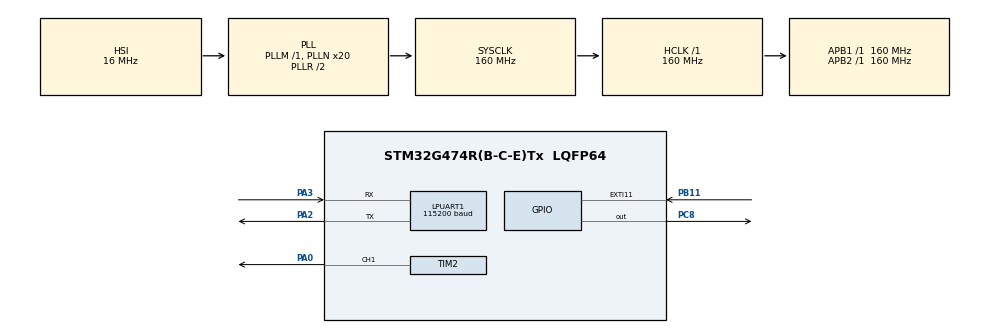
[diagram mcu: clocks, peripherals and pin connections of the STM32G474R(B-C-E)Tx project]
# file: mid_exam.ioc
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LPUART1.BaudRate=115200
Mcu.Family=STM32G4
Mcu.Name=STM32G474R(B-C-E)Tx
Mcu.Package=LQFP64
NVIC.EXTI15_10_IRQn=true\:1\:0\:true\:false\:true\:true\:true\:true
NVIC.LPUART1_IRQn=true\:3\:0\:true\:false\:true\:true\:true\:true
NVIC.PriorityGroup=NVIC_PRIORITYGROUP_4
NVIC.TIM3_IRQn=true\:2\:0\:true\:false\:true\:true\:true\:true
PA0.Signal=S_TIM2_CH1
PA13.GPIO_Label=T_SWDIO
PA13.Mode=Serial_Wire
PA13.Signal=SYS_JTMS-SWDIO
PA14.GPIO_Label=T_SWCLK
PA14.Mode=Serial_Wire
PA14.Signal=SYS_JTCK-SWCLK
PA2.Mode=Asynchronous
PA2.Signal=LPUART1_TX
PA3.Mode=Asynchronous
PA3.Signal=LPUART1_RX
PB11.GPIO_ModeDefaultEXTI=GPIO_MODE_IT_FALLING
PB11.GPIO_PuPd=GPIO_PULLUP
PB11.Signal=GPXTI11
PB3.GPIO_Label=T_SWO
PB3.Signal=SYS_JTDO-SWO
PC14-OSC32_IN.GPIO_Label=RCC_OSC32_IN
PC14-OSC32_IN.Signal=RCC_OSC32_IN
PC15-OSC32_OUT.GPIO_Label=RCC_OSC32_OUT
PC15-OSC32_OUT.Signal=RCC_OSC32_OUT
PC8.Signal=GPIO_Output
PF0-OSC_IN.GPIO_Label=RCC_OSC_IN
PF0-OSC_IN.Mode=HSE-External-Oscillator
PF0-OSC_IN.Signal=RCC_OSC_IN
PF1-OSC_OUT.GPIO_Label=RCC_OSC_OUT
PF1-OSC_OUT.Mode=HSE-External-Oscillator
PF1-OSC_OUT.Signal=RCC_OSC_OUT
ProjectManager.HeapSize=0x200
ProjectManager.StackSize=0x400
ProjectManager.TargetToolchain=STM32CubeIDE
RCC.ADC12Freq_Value=160000000
RCC.ADC345Freq_Value=160000000
RCC.AHBFreq_Value=160000000
RCC.APB1Freq_Value=160000000
RCC.APB1TimFreq_Value=160000000
RCC.APB2Freq_Value=160000000
RCC.APB2TimFreq_Value=160000000
RCC.CortexFreq_Value=160000000
RCC.EXTERNAL_CLOCK_VALUE=12288000
RCC.HCLKFreq_Value=160000000
RCC.HSE_VALUE=24000000
RCC.HSI48_VALUE=48000000
RCC.HSI_VALUE=16000000
RCC.LSE_VALUE=32768
RCC.PLLN=20
RCC.RTCClockSelection=RCC_RTCCLKSOURCE_LSE
RCC.SYSCLKFreq_VALUE=160000000
RCC.SYSCLKSource=RCC_SYSCLKSOURCE_PLLCLK
RCC.USBFreq_Value=160000000
RCC.VCOOutputFreq_Value=320000000
SH.S_TIM2_CH1.0=TIM2_CH1,PWM Generation1 CH1
TIM2.Channel-Output\ Compare2\ No\ Output=TIM_CHANNEL_2
TIM2.Channel-PWM\ Generation1\ CH1=TIM_CHANNEL_1
TIM2.PeriodNoDither=999
TIM2.Prescaler=159
TIM2.PulseNoDither_1=50
TIM3.PeriodNoDither=1000-1
TIM3.Prescaler=16000-1
VP_SYS_VS_DBSignals.Mode=DisableDeadBatterySignals
VP_TIM2_VS_ClockSourceINT.Mode=Internal
VP_TIM2_VS_no_output2.Mode=Output Compare2 No Output
VP_TIM3_VS_ClockSourceINT.Mode=Internal
board=NUCLEO-G474RE

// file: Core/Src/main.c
/* USER CODE BEGIN Header */
/**
  ******************************************************************************
  * @file           : main.c
  * @brief          : Main program body
  ******************************************************************************
  * @attention
  *
  * Copyright (c) 2026 STMicroelectronics.
  * All rights reserved.
  *
  * This software is licensed under terms that can be found in the LICENSE file
  * in the root directory of this software component.
  * If no LICENSE file comes with this software, it is provided AS-IS.
  *
  ******************************************************************************
  */
/* USER CODE END Header */
#include "main.h"

/* USER CODE BEGIN Includes */
#include <stdio.h>    /* snprintf：格式化時間字串與統計報表 */
#include <string.h>   /* strlen / strcmp / strncmp：字串長度與指令比對 */
#include <stdint.h>   /* uint8_t / uint32_t 等固定寬度整數型別 */
/* USER CODE END Includes */

/* USER CODE BEGIN PTD */

/**
  * 單筆警報歷史紀錄。
  * 兩個欄位都以「秒」為單位，顯示時再用 format_time() 轉成 00h 00m 00s。
  */
typedef struct
{
  uint32_t start_sec;     /* 觸發時的系統運行秒數（從自我檢測完成後開始累計） */
  uint32_t duration_sec;  /* 這次警報持續的秒數（從觸發到 2FA 解除） */
} AlarmRecord_t;
/* USER CODE END PTD */

/* USER CODE BEGIN PD */

/*
 * ============================================================================
 *  程式架構與硬體時基總覽
 * ============================================================================
 *
 *  【系統時脈】
 *    HSI 16 MHz → PLLM /1 → PLLN x20 = 320 MHz → PLLR /2 = 160 MHz (SYSCLK)
 *    AHB、APB1、APB2 的分頻都是 /1，所以 TIM2、TIM3 的輸入時脈都是 160 MHz。
 *
 *  【TIM2：LED 的 PWM】（輸出腳依 CubeMX 分配，Nucleo 上通常是 PA5 / LD2）
 *    預除頻 159 → 160 MHz / 160 = 1 MHz
 *    週期 (ARR) 999 → 1000 個計數 → PWM 頻率 1 kHz
 *    佔空比 = CCR / 1000
 *      CCR = 100  → 10%（待機低亮度）
 *      CCR = 1000 → 100%（CCR 大於 ARR 時輸出恆為高電位，即全亮）
 *      CCR = 0    → 0%（熄滅）
 *
 *  【TIM3：100 ms 系統節拍】
 *    預除頻 15999 → 160 MHz / 16000 = 10 kHz
 *    週期 (ARR) 999 → 1000 個計數 → 10 Hz，即每 100 ms 溢位一次
 *    本程式不開 TIM3 中斷，而是在主迴圈輪詢「更新旗標」(UIF) 來取得節拍，
 *    這樣就不必修改 stm32g4xx_it.c。
 *
 *  【運行架構：主迴圈 + 輪詢 + 一個中斷】
 *    - 按鈕 (PB11)：EXTI 下緣中斷，ISR 只設旗標 button_event。
 *    - 100 ms 節拍：輪詢 TIM3 更新旗標，呼叫 on_tick()。
 *    - 串口接收：輪詢 LPUART1 的 RXNE 旗標，逐字元組成一行指令。
 *    - 以上三者都集中在 service()，所有等待迴圈 (wait_ms) 都會持續呼叫它，
 *      所以等待期間按鈕、串口與節拍都不會漏掉。
 *
 *  【資料流程】
 *    按鈕 ISR → button_event → service() → trigger_alarm()
 *    串口字元 → rx_buf → process_line() → handle_alarm_line()/handle_normal_line()
 *    TIM3 節拍 → on_tick() → 更新運行時間、SOS 節奏、5 秒驗證倒數
 * ============================================================================
 */

/* ---- LED 亮度（TIM2 通道 1 的 CCR 值，ARR = 999） ---- */
#define LED_DIM            100U    /* 10%：待機低亮度 */
#define LED_FULL           1000U   /* 100%：CCR > ARR，輸出恆為高電位 */

/* ---- 蜂鳴器（主動式，高電位響、低電位靜音，只做開關） ---- */
#define BUZZER_PORT        GPIOC
#define BUZZER_PIN         GPIO_PIN_8

/* ---- 時間與驗證參數 ---- */
#define SOS_CYCLE_UNITS    35U     /* 一個 SOS 循環 = 35 個 100 ms 單位 = 3.5 秒 */
#define AUTH_WINDOW_TICKS  50U     /* 第二步的 5 秒視窗 = 50 個 100 ms 單位 */
#define AUTH_CODE_STR      "1234"  /* 寫死的授權碼 */

/* ---- 串口與歷史紀錄 ---- */
#define RX_BUF_SIZE        32U     /* 接收緩衝區大小；含結尾 '\0'，所以最多存 31 個字元 */
#define HISTORY_MAX        3U      /* 只保留最近 3 次警報紀錄 */

/* ---- 按鈕 ---- */
#define DEBOUNCE_MS        50U     /* 防彈跳時間：50 ms 內的重複下緣一律忽略 */

/* ---- 串口訊息字串（逐字照規格，勿任意修改） ----
 *  \r\n 為回車加換行；結尾帶 _FMT 的字串含 %s，要搭配 snprintf 使用。
 */
#define MSG_POST_START   "\r\n[POST] Starting Hardware Self-Test...\r\n"
#define MSG_POST_PASS    "[POST] Hardware Self-Test PASSED: LED: OK | Buzzer: OK | EXTI: OK\r\n"
#define MSG_WELCOME      "\r\n[SYSTEM] Secure Remote Monitoring Initialized.\r\nCommands: 'stats', 'cmd test', or alarm prompt for 2FA unlock.\r\n"
#define MSG_STATUS_FMT   "\n[STATUS] System: NORMAL | Uptime: %s | Status: SECURE\r\n"
#define MSG_ALARM_TRIG   "\r\n[ALARM] SOS Triggered! SECURE AUTH REQUIRED.\r\n-> Type: clear <auth_code>\r\n"
#define MSG_ALARM_ACTIVE "\n\n[ALARM] System: SOS ACTIVE! | Waiting for 2FA clearance...\r\n"
#define MSG_STEP1_OK     "\r\n[SECURITY] Step 1 Passed! Enter 'r' or 'R' within 5 seconds to clear SOS...\r\n"
#define MSG_BAD_CODE     "\r\n[ERROR] Invalid Auth Code! Access Denied.\r\n"
#define MSG_NEED_CODE    "\r\n[WARNING] Alarm Active. Please enter internal auth code first.\r\n"
#define MSG_BAD_STEP2    "\r\n[ERROR] Incorrect input! Expected 'r' or 'R'.\r\n"
#define MSG_WIN_EXPIRED  "\r\n[WARNING] 5-Second Window Expired! Please re-enter internal auth code.\r\n"
#define MSG_CLEARED_FMT  "\r\n[INFO] 2FA Verified Successfully! SOS Cleared. (Duration: %s)\r\n"
#define MSG_TEST_START   "\r\n[CMD] Executing remote test: LED blink x2 & Buzzer beep...\r\n"
#define MSG_TEST_DONE    "[CMD] Test sequence completed successfully.\r\n"
#define MSG_UNKNOWN      "\r\n[INFO] Normal state. Available commands: stats, cmd test\r\n"
/* USER CODE END PD */

UART_HandleTypeDef hlpuart1;

TIM_HandleTypeDef htim2;
TIM_HandleTypeDef htim3;

/* USER CODE BEGIN PV */

/* ---- 系統時基 ----
 * 每個 100 ms 節拍加 1。運行秒數 = uptime_ticks / 10。
 * 只有自我檢測完成、TIM3 啟動後才會開始累計。
 */
static uint32_t uptime_ticks = 0;

/* ---- 警報狀態 ---- */
/* 是否處於警報中。會被主迴圈與按鈕 ISR 同時讀取，所以宣告為 volatile。 */
static volatile uint8_t  alarm_active = 0;
static uint32_t alarm_ticks = 0;          /* 本次警報累計的 100 ms 單位數（除以 10 即持續秒數） */
static uint32_t alarm_phase = 0;          /* 目前在 SOS 循環中的位置 (0 ~ 34) */
static uint32_t alarm_start_sec = 0;      /* 本次警報觸發時的系統運行秒數 */
static uint32_t total_triggers = 0;       /* 開機以來的總觸發次數 */

/* ---- 兩步驟驗證 ---- */
static uint8_t  auth_step = 0;            /* 0 = 等授權碼 (clear 1234)；1 = 等確認字元 (r/R) */
static uint32_t auth_window_ticks = 0;    /* 第二步剩餘的 100 ms 單位數，倒數到 0 即逾時 */

/* ---- 歷史紀錄 ----
 * history[0] 永遠是最新一筆，數字越大越舊。
 * history_count 為目前有效筆數 (0 ~ HISTORY_MAX)。
 */
static AlarmRecord_t history[HISTORY_MAX];
static uint8_t history_count = 0;

/* ---- 按鈕事件 ----
 * button_event 由 EXTI 中斷設為 1，主迴圈 service() 取走後清 0，
 * 兩邊都會存取，所以用 volatile。
 * button_last_ms 記錄上次有效按下的 HAL_GetTick() 時間，用於防彈跳。
 */
static volatile uint8_t  button_event = 0;
static volatile uint32_t button_last_ms = 0;

/* ---- 串口接收緩衝 ---- */
static char    rx_buf[RX_BUF_SIZE];   /* 逐字元累積目前這一行 */
static uint8_t rx_len = 0;            /* 緩衝區目前已存的字元數 */
static uint8_t rx_overflow = 0;       /* 1 = 本行已超長，持續丟棄直到收到換行 */
/* USER CODE END PV */

void SystemClock_Config(void);
static void MX_GPIO_Init(void);
static void MX_LPUART1_UART_Init(void);
static void MX_TIM2_Init(void);
static void MX_TIM3_Init(void);
/* USER CODE BEGIN PFP */
static void uart_print(const char *s);
static void format_time(char *buf, size_t n, uint32_t secs);
static void led_set(uint32_t duty);
static void buzzer_set(uint8_t on);
static uint8_t sos_is_on(uint32_t unit);
static void on_tick(void);
static void tick_poll(void);
static void delay_ticking(uint32_t ms);
static void trigger_alarm(void);
static void clear_alarm(void);
static void handle_alarm_line(const char *line);
static void handle_normal_line(const char *line);
static void process_line(const char *line);
static void uart_poll_rx(void);
static void service(void);
static uint8_t wait_ms(uint32_t ms);
static void print_stats(void);
static void run_remote_test(void);
static void button_isr(uint16_t pin);
/* USER CODE END PFP */

/* USER CODE BEGIN 0 */

/* ==========================================================================
 *  基本輸出工具
 * ========================================================================== */

/**
  * @brief  從串口送出一個以 '\0' 結尾的字串（阻塞式）。
  * @param  s: 要送出的字串
  * @note   逾時設 200 ms。以 115200 bps 送約 100 個字元只需約 9 ms，
  *         遠小於逾時，實務上不會被截斷。
  */
static void uart_print(const char *s)
{
  HAL_UART_Transmit(&hlpuart1, (uint8_t *)s, (uint16_t)strlen(s), 200);
}

/**
  * @brief  把秒數格式化成固定格式「兩位數時、分、秒」，例如 00h 05m 12s。
  * @param  buf:  輸出緩衝區
  * @param  n:    緩衝區大小
  * @param  secs: 總秒數
  * @note   %lu 搭配 unsigned long 轉型，避免 32 位元平台上的格式不一致警告。
  *         小時超過 99 時會自然變成三位數，不會被截斷。
  */
static void format_time(char *buf, size_t n, uint32_t secs)
{
  snprintf(buf, n, "%02luh %02lum %02lus",
           (unsigned long)(secs / 3600U),          /* 時 */
           (unsigned long)((secs % 3600U) / 60U),  /* 分 */
           (unsigned long)(secs % 60U));           /* 秒 */
}

/**
  * @brief  設定 LED 亮度（直接寫入 TIM2 通道 1 的比較值）。
  * @param  duty: 0 = 熄滅、LED_DIM = 10%、LED_FULL = 全亮
  */
static void led_set(uint32_t duty)
{
  __HAL_TIM_SET_COMPARE(&htim2, TIM_CHANNEL_1, duty);
}

/**
  * @brief  開關蜂鳴器。主動式蜂鳴器高電位響，所以 on=1 輸出高電位。
  */
static void buzzer_set(uint8_t on)
{
  HAL_GPIO_WritePin(BUZZER_PORT, BUZZER_PIN, on ? GPIO_PIN_SET : GPIO_PIN_RESET);
}

/* ==========================================================================
 *  SOS 摩斯密碼節奏
 * ========================================================================== */

/**
  * @brief  判斷 SOS 循環中的某個單位是否為「亮 / 響」的時段。
  * @param  u: 循環中的單位索引 (0 ~ 34)，每單位 100 ms
  * @retval 1 = LED 全亮且蜂鳴器響；0 = LED 熄滅且蜂鳴器靜音
  *
  * 一個循環 35 個單位 (3.5 秒)，各區間皆「含起點、不含終點」：
  *
  *   單位:  0 1 2 3 4 5 6 7 8 9 ...
  *   S 短:  ■ ■ _ ■ ■ _ ■ ■ _        [0,2) [3,5) [6,8)    各 0.2 秒
  *   O 長:  [9,12) [13,16) [17,20)                         各 0.3 秒
  *   S 短:  [21,23) [24,26) [27,29)                        各 0.2 秒
  *   其餘 (含 29 ~ 34 的最後 0.6 秒) 為休止。
  *
  * 每個「亮」之間留 1 個單位的靜音，用來分隔字母內的各個音。
  */
static uint8_t sos_is_on(uint32_t u)
{
  /* S：三短 */
  if (u < 2U)               return 1;
  if (u >= 3U  && u < 5U)   return 1;
  if (u >= 6U  && u < 8U)   return 1;
  /* O：三長 */
  if (u >= 9U  && u < 12U)  return 1;
  if (u >= 13U && u < 16U)  return 1;
  if (u >= 17U && u < 20U)  return 1;
  /* S：三短 */
  if (u >= 21U && u < 23U)  return 1;
  if (u >= 24U && u < 26U)  return 1;
  if (u >= 27U && u < 29U)  return 1;
  /* 其餘為休止 */
  return 0;
}

/* ==========================================================================
 *  100 ms 節拍處理
 * ========================================================================== */

/**
  * @brief  每 100 ms 執行一次的節拍處理，負責三件事：
  *         1. 累計系統運行時間
  *         2. 警報期間推進 SOS 節奏並驅動 LED／蜂鳴器
  *         3. 第二步驗證的 5 秒倒數
  */
static void on_tick(void)
{
  /* 1. 系統運行時間（不論是否在警報中都累計） */
  uptime_ticks++;

  if (alarm_active)
  {
    /* 警報持續時間：每個節拍加 1，解除時除以 10 換成秒 */
    alarm_ticks++;

    /* 2. 推進 SOS 循環位置，在 0 ~ 34 之間循環 */
    alarm_phase = (alarm_phase + 1U) % SOS_CYCLE_UNITS;
    if (sos_is_on(alarm_phase))
    {
      led_set(LED_FULL);   /* 亮的時段：LED 全亮 + 蜂鳴器響 */
      buzzer_set(1);
    }
    else
    {
      led_set(0);          /* 休止時段：LED 熄滅 + 蜂鳴器靜音 */
      buzzer_set(0);
    }

    /* 3. 第二步的 5 秒倒數（只在 auth_step == 1 時進行） */
    if (auth_step == 1U)
    {
      if (auth_window_ticks > 0U)
      {
        auth_window_ticks--;
      }
      if (auth_window_ticks == 0U)
      {
        /* 時間到：退回第一步，使用者需重新輸入授權碼 */
        auth_step = 0U;
        uart_print(MSG_WIN_EXPIRED);
      }
    }
  }
}

/**
  * @brief  輪詢 TIM3 的更新旗標 (UIF) 來取得 100 ms 節拍。
  * @note   TIM3 每 100 ms 溢位一次並設起 UIF；這裡發現旗標就清除並呼叫 on_tick()。
  *         旗標只有 1 位元，若主程式被阻塞超過 100 ms 沒來檢查，
  *         多個節拍會合併成一個。本程式的阻塞操作（串口輸出）都在
  *         十幾毫秒內，所以不會發生。
  */
static void tick_poll(void)
{
  if (__HAL_TIM_GET_FLAG(&htim3, TIM_FLAG_UPDATE))
  {
    __HAL_TIM_CLEAR_FLAG(&htim3, TIM_FLAG_UPDATE);
    on_tick();
  }
}

/**
  * @brief  阻塞延遲 ms 毫秒，期間仍持續累計節拍。
  * @note   用於 cmd test：延遲期間不能讓運行時間停止累計，
  *         所以不能直接用 HAL_Delay()。此函式不處理按鈕與串口。
  */
static void delay_ticking(uint32_t ms)
{
  uint32_t t0 = HAL_GetTick();
  while ((HAL_GetTick() - t0) < ms)   /* 減法寫法可正確處理計數溢位 */
  {
    tick_poll();
  }
}

/* ==========================================================================
 *  警報觸發與解除
 * ========================================================================== */

/**
  * @brief  進入 SOS 警報狀態（只會在一般狀態下被呼叫）。
  * @note   依規格做這幾件事：總次數加 1、記下起始時間、重設持續時間計數、
  *         把驗證流程重設回第一步、輸出警報訊息。
  */
static void trigger_alarm(void)
{
  total_triggers++;                        /* 總觸發次數加 1 */
  alarm_start_sec = uptime_ticks / 10U;    /* 記下此刻的系統運行秒數 */
  alarm_ticks = 0;                         /* 重新開始計算持續時間 */
  auth_step = 0;                           /* 驗證回到第一步 */
  auth_window_ticks = 0;

  /* 把循環位置設為最後一格 (34)。下一個節拍 (最多 100 ms 後) 會翻到第 0 格，
   * 這樣第一個單位從節拍邊界開始，每個單位都剛好 100 ms。 */
  alarm_phase = SOS_CYCLE_UNITS - 1U;

  led_set(0);        /* 先熄滅，等第一個節拍再依 SOS 節奏驅動 */
  buzzer_set(0);
  alarm_active = 1;  /* 最後才設旗標，確保上面的初始化已完成 */
  uart_print(MSG_ALARM_TRIG);
}

/**
  * @brief  2FA 驗證成功後解除警報，並把本次紀錄存入歷史。
  */
static void clear_alarm(void)
{
  char tbuf[24];                           /* 暫存時間字串 */
  char out[96];                            /* 暫存完整輸出訊息 */
  uint32_t duration = alarm_ticks / 10U;   /* 100 ms 單位數 ÷ 10，取整數秒 */
  uint8_t i;

  /* 先回到一般狀態：警報結束、驗證歸零、LED 回待機亮度、蜂鳴器關閉 */
  alarm_active = 0;
  auth_step = 0;
  auth_window_ticks = 0;
  led_set(LED_DIM);
  buzzer_set(0);

  /* 存入歷史紀錄：新的放在最前面，舊的依序往後移，最舊的被擠掉。
   * 從尾端往前搬，避免覆蓋尚未搬動的資料。 */
  for (i = HISTORY_MAX - 1U; i > 0U; i--)
  {
    history[i] = history[i - 1U];
  }
  history[0].start_sec = alarm_start_sec;
  history[0].duration_sec = duration;
  if (history_count < HISTORY_MAX)   /* 有效筆數最多 3 */
  {
    history_count++;
  }

  /* 輸出解除成功訊息與持續時間 */
  format_time(tbuf, sizeof(tbuf), duration);
  snprintf(out, sizeof(out), MSG_CLEARED_FMT, tbuf);
  uart_print(out);
}

/* ==========================================================================
 *  指令處理
 * ========================================================================== */

/**
  * @brief  警報期間的輸入處理（兩步驟驗證狀態機）。
  * @param  line: 一行已去除換行的指令字串
  *
  *  第一步 (auth_step == 0)：
  *    - "clear 1234"        → 進入第二步，啟動 5 秒視窗
  *    - "clear " + 其他內容 → 授權碼錯誤，仍留在第一步
  *    - 其他任何內容        → 提醒先輸入授權碼，仍留在第一步
  *  第二步 (auth_step == 1)：
  *    - "r" 或 "R"          → 解除警報
  *    - 其他任何內容        → 提示輸入錯誤，仍留在第二步，倒數繼續
  */
static void handle_alarm_line(const char *line)
{
  if (auth_step == 0U)
  {
    /* 以 "clear " 開頭（含一個空格）才視為在輸入授權碼 */
    if (strncmp(line, "clear ", 6) == 0)
    {
      /* line + 6 跳過 "clear "，剩下的部分必須完全等於授權碼 */
      if (strcmp(line + 6, AUTH_CODE_STR) == 0)
      {
        auth_step = 1U;                       /* 進入第二步 */
        auth_window_ticks = AUTH_WINDOW_TICKS;/* 開始 5 秒倒數 */
        uart_print(MSG_STEP1_OK);
      }
      else
      {
        uart_print(MSG_BAD_CODE);             /* 數字錯誤或非數字 */
      }
    }
    else
    {
      uart_print(MSG_NEED_CODE);              /* 沒有以 clear 開頭 */
    }
  }
  else
  {
    /* 第二步：必須剛好是單一字元 r 或 R（line[1] 必須是結尾 '\0'） */
    if ((line[0] == 'r' || line[0] == 'R') && line[1] == '\0')
    {
      clear_alarm();
    }
    else
    {
      uart_print(MSG_BAD_STEP2);              /* 留在第二步，倒數繼續 */
    }
  }
}

/**
  * @brief  輸出統計報表：總觸發次數、目前運行時間、最近 3 次警報紀錄。
  * @note   報表分多次送出而不是一次組成大字串，可以省 RAM，
  *         每行也只需要一個 128 位元組的暫存區。
  */
static void print_stats(void)
{
  char tbuf[24];    /* 時間字串暫存 1 */
  char tbuf2[24];   /* 時間字串暫存 2（歷史紀錄一行要同時顯示兩個時間） */
  char line[128];   /* 單行輸出暫存 */
  uint8_t i;

  /* 報表前面有一個空行 */
  uart_print("\r\n");
  uart_print("========================================\r\n");
  uart_print("       SYSTEM TELEMETRY & STATS         \r\n");
  uart_print("========================================\r\n");

  /* 總觸發次數 */
  snprintf(line, sizeof(line), "- Total SOS Triggers    : %lu\r\n", (unsigned long)total_triggers);
  uart_print(line);

  /* 目前系統運行時間 */
  format_time(tbuf, sizeof(tbuf), uptime_ticks / 10U);
  snprintf(line, sizeof(line), "- System Uptime         : %s\r\n", tbuf);
  uart_print(line);

  uart_print("----------------------------------------\r\n");
  uart_print(" Recent SOS History (Max 3):\r\n");

  if (history_count == 0U)
  {
    /* 還沒有任何已解除的警報 */
    uart_print(" (No alarm history recorded yet)\r\n");
  }
  else
  {
    /* 編號 [1] 為最新，對應 history[0] */
    for (i = 0; i < history_count; i++)
    {
      format_time(tbuf, sizeof(tbuf), history[i].start_sec);
      format_time(tbuf2, sizeof(tbuf2), history[i].duration_sec);
      snprintf(line, sizeof(line), " [%u] Triggered @ %s | Duration: %s\r\n",
               (unsigned)(i + 1U), tbuf, tbuf2);
      uart_print(line);
    }
  }
  uart_print("========================================\r\n");
}

/**
  * @brief  遠端測試：LED 全亮並蜂鳴器響 200 ms、恢復並靜音 200 ms，共兩次。
  * @note   使用 delay_ticking() 讓運行時間在測試期間不中斷。
  *         測試期間不處理按鈕與串口輸入，約 0.8 秒後恢復正常。
  */
static void run_remote_test(void)
{
  uint8_t i;

  uart_print(MSG_TEST_START);
  for (i = 0; i < 2U; i++)
  {
    led_set(LED_FULL);       /* 亮 + 響 200 ms */
    buzzer_set(1);
    delay_ticking(200);
    led_set(LED_DIM);        /* 恢復待機亮度 + 靜音 200 ms */
    buzzer_set(0);
    delay_ticking(200);
  }
  uart_print(MSG_TEST_DONE);
}

/**
  * @brief  一般狀態（非警報）的指令處理。
  * @note   指令必須完全相符、區分大小寫；"cmd test" 中間是一個空格。
  */
static void handle_normal_line(const char *line)
{
  if (strcmp(line, "stats") == 0)
  {
    print_stats();
  }
  else if (strcmp(line, "cmd test") == 0)
  {
    run_remote_test();
  }
  else
  {
    /* 其他任何內容：顯示正常狀態與可用指令 */
    uart_print(MSG_UNKNOWN);
  }
}

/**
  * @brief  依目前狀態把整行輸入分派給警報處理或一般處理。
  *         警報期間 stats、cmd test 都不可用。
  */
static void process_line(const char *line)
{
  if (alarm_active)
  {
    handle_alarm_line(line);
  }
  else
  {
    handle_normal_line(line);
  }
}

/* ==========================================================================
 *  串口接收（輪詢 RXNE）
 * ========================================================================== */

/**
  * @brief  輪詢 LPUART1，把收到的字元組成一行，收到換行時交給 process_line()。
  *
  *  接收規則：
  *   - 每收到一個字元就存進 rx_buf。
  *   - 收到 '\r' 或 '\n'，且緩衝區不是空的，才把整行交出並清空緩衝區。
  *     因此 CRLF 的第二個字元到達時緩衝區已是空的，會被自然忽略。
  *   - 緩衝區大小 32，最多存 31 個字元；超過時整行丟棄，
  *     持續忽略後續字元，直到下一個換行才重新開始。
  */
static void uart_poll_rx(void)
{
  /* RXNE = 接收資料暫存器非空，表示有字元可讀；一次把積壓的全部讀完 */
  while (__HAL_UART_GET_FLAG(&hlpuart1, UART_FLAG_RXNE))
  {
    /* 讀 RDR 會同時清除 RXNE 旗標；只取低 8 位元（8 data bits） */
    char c = (char)(hlpuart1.Instance->RDR & 0xFFU);

    if (c == '\r' || c == '\n')
    {
      if (rx_overflow)
      {
        /* 這一行先前已超長：收到換行時把它整行丟棄，重新開始 */
        rx_overflow = 0;
        rx_len = 0;
      }
      else if (rx_len > 0U)
      {
        /* 正常的一行：補上字串結尾、清空長度，再交給指令解析。
         * 先把 rx_len 歸零再呼叫 process_line()，這樣處理期間
         * 緩衝區已是乾淨的。 */
        rx_buf[rx_len] = '\0';
        rx_len = 0;
        process_line(rx_buf);
      }
      /* 緩衝區為空（例如 CRLF 的第二個字元或單獨按 Enter）→ 直接忽略 */
    }
    else if (!rx_overflow)
    {
      if (rx_len < (RX_BUF_SIZE - 1U))
      {
        rx_buf[rx_len++] = c;   /* 保留最後 1 格給結尾 '\0' */
      }
      else
      {
        /* 已經存滿 31 個字元還有新字元：判定超長，整行丟棄，
         * 之後的字元一律忽略，直到下一個換行。 */
        rx_overflow = 1;
        rx_len = 0;
      }
    }
    /* rx_overflow 為 1 時，非換行字元在此被直接丟棄 */
  }

  /* 清除可能的串口錯誤旗標。若發生 overrun (ORE) 等錯誤而不清除，
   * 接收器可能卡住，之後收不到任何字元。 */
  if (__HAL_UART_GET_FLAG(&hlpuart1, UART_FLAG_ORE) ||   /* 溢位：資料來不及讀 */
      __HAL_UART_GET_FLAG(&hlpuart1, UART_FLAG_FE)  ||   /* 框架錯誤 */
      __HAL_UART_GET_FLAG(&hlpuart1, UART_FLAG_NE)  ||   /* 雜訊錯誤 */
      __HAL_UART_GET_FLAG(&hlpuart1, UART_FLAG_PE))      /* 同位檢查錯誤 */
  {
    __HAL_UART_CLEAR_FLAG(&hlpuart1, UART_CLEAR_OREF | UART_CLEAR_FEF |
                                     UART_CLEAR_NEF  | UART_CLEAR_PEF);
  }
}

/* ==========================================================================
 *  背景服務與等待迴圈
 * ========================================================================== */

/**
  * @brief  統一的背景服務：節拍、按鈕、串口。
  *         所有等待迴圈都反覆呼叫它，確保等待期間不會漏掉任何事件。
  */
static void service(void)
{
  /* 1. 100 ms 節拍（時間、SOS 節奏、5 秒倒數） */
  tick_poll();

  /* 2. 按鈕事件：ISR 只設旗標，真正的觸發動作在這裡（主迴圈環境）執行，
   *    避免在中斷裡做串口輸出等耗時操作。 */
  if (button_event)
  {
    button_event = 0;
    if (!alarm_active)      /* 再檢查一次：警報中按按鈕會被忽略 */
    {
      trigger_alarm();
    }
  }

  /* 3. 串口輸入 */
  uart_poll_rx();
}

/**
  * @brief  等待 ms 毫秒，期間持續執行 service()。
  * @param  ms: 等待時間（毫秒）
  * @retval 1 = 等待期間警報狀態改變（被觸發或被解除），提前結束
  *         0 = 時間到，狀態沒有改變
  * @note   主迴圈用它實現「可被打斷的等待」：一旦狀態改變，
  *         呼叫端就放棄原本的流程，回到迴圈開頭依新狀態重新開始。
  */
static uint8_t wait_ms(uint32_t ms)
{
  uint8_t initial = alarm_active;     /* 記下進入時的狀態，用來偵測變化 */
  uint32_t t0 = HAL_GetTick();

  while ((HAL_GetTick() - t0) < ms)
  {
    service();
    if (alarm_active != initial)
    {
      return 1;                        /* 警報被觸發或解除，立刻離開 */
    }
  }
  return 0;                            /* 完整等完 */
}

/* USER CODE END 0 */

int main(void)
{

  /* MCU Configuration--------------------------------------------------------*/

  /* Reset of all peripherals, Initializes the Flash interface and the Systick. */
  HAL_Init();

  /* Configure the system clock */
  SystemClock_Config();

  /* Initialize all configured peripherals */
  MX_GPIO_Init();
  MX_LPUART1_UART_Init();
  MX_TIM2_Init();
  MX_TIM3_Init();
  /* USER CODE BEGIN 2 */

  /* ======================================================================
   *  開機自我檢測 (POST)，總長約 7.5 秒
   *    LED 全亮 1.5 秒 → 蜂鳴器 (響 1.5 秒 + 停 1.5 秒) x 2
   *  此階段 TIM3 尚未啟動，所以運行時間還沒開始累計，可直接用 HAL_Delay()。
   * ====================================================================== */

  buzzer_set(0);                               /* 確保蜂鳴器一開始是靜音 */
  led_set(0);                                  /* 先把比較值設為 0，避免啟動瞬間閃一下 */
  HAL_TIM_PWM_Start(&htim2, TIM_CHANNEL_1);    /* 啟動 LED 的 PWM 輸出 */

  uart_print(MSG_POST_START);

  /* LED 全亮 1.5 秒，再降回 10% 待機亮度 */
  led_set(LED_FULL);
  HAL_Delay(1500);
  led_set(LED_DIM);

  /* 蜂鳴器：響 1.5 秒、停 1.5 秒，連續兩次 */
  for (uint8_t i = 0; i < 2U; i++)
  {
    buzzer_set(1);
    HAL_Delay(1500);
    buzzer_set(0);
    HAL_Delay(1500);
  }

  /* 注意：訊息會寫 EXTI OK，但這裡沒有真的測試按鈕，只是固定文字（依規格） */
  uart_print(MSG_POST_PASS);

  /* ======================================================================
   *  啟動 100 ms 節拍
   *  自我檢測完成後才啟動 TIM3，所以運行時間從這裡才開始累計。
   * ====================================================================== */
  __HAL_TIM_SET_COUNTER(&htim3, 0);            /* 計數器歸零，第一個節拍剛好 100 ms 後 */
  __HAL_TIM_CLEAR_FLAG(&htim3, TIM_FLAG_UPDATE);/* 清掉可能殘留的更新旗標 */
  HAL_TIM_Base_Start(&htim3);                  /* 不帶中斷的啟動，旗標由主迴圈輪詢 */

  /* 清掉自我檢測期間可能殘留的事件，避免一開機就誤觸警報或誤解析指令 */
  button_event = 0;                            /* 檢測期間若有按鈕 ISR 觸發，丟棄 */
  rx_len = 0;
  rx_overflow = 0;
  while (__HAL_UART_GET_FLAG(&hlpuart1, UART_FLAG_RXNE))
  {
    (void)hlpuart1.Instance->RDR;              /* 讀出並丟棄檢測期間收到的字元 */
  }
  __HAL_UART_CLEAR_FLAG(&hlpuart1, UART_CLEAR_OREF | UART_CLEAR_FEF |
                                   UART_CLEAR_NEF  | UART_CLEAR_PEF);

  uart_print(MSG_WELCOME);                     /* 歡迎訊息與可用指令提示 */

  /* USER CODE END 2 */

  /* Infinite loop */
  while (1)
  {

    /* USER CODE BEGIN 3 */
    char tbuf[24];   /* 時間字串暫存 */
    char out[96];    /* 狀態回報訊息暫存 */

    /* ==================================================================
     *  警報狀態
     *  每約 5 秒輸出一次提示。期間 LED/蜂鳴器由 on_tick() 依 SOS 節奏驅動，
     *  串口輸入與 2FA 驗證由 wait_ms() 內的 service() 處理。
     * ================================================================== */
    if (alarm_active)
    {
      if (wait_ms(5000))
      {
        /* 等待中警報被解除了：不再輸出「警報持續中」，
         * 直接回到迴圈開頭，改走一般狀態。 */
        continue;
      }
      uart_print(MSG_ALARM_ACTIVE);
      continue;
    }

    /* ==================================================================
     *  一般狀態，每圈約 5 秒：
     *    等 4.5 秒 → LED 全亮 0.5 秒 → 回到 10% → 輸出狀態訊息
     *  兩段等待都可被按鈕打斷（打斷後 wait_ms 回傳 1，立刻離開）。
     * ================================================================== */

    /* 先等 4.5 秒（LED 維持 10% 待機亮度） */
    if (wait_ms(4500))
    {
      continue;     /* 被按鈕打斷：警報已啟動，回迴圈開頭 */
    }

    /* LED 全亮 0.5 秒，作為「系統運作中」的心跳閃爍 */
    led_set(LED_FULL);
    if (wait_ms(500))
    {
      continue;     /* 被打斷：警報已接手控制 LED，所以這裡不要再動 LED */
    }
    led_set(LED_DIM);   /* 正常結束：LED 回到 10% */

    /* 輸出一行狀態訊息，內含系統運行時間 */
    format_time(tbuf, sizeof(tbuf), uptime_ticks / 10U);
    snprintf(out, sizeof(out), MSG_STATUS_FMT, tbuf);
    uart_print(out);
  }
  /* USER CODE END 3 */
}

void SystemClock_Config(void)
{
  RCC_OscInitTypeDef RCC_OscInitStruct = {0};
  RCC_ClkInitTypeDef RCC_ClkInitStruct = {0};

  /** Configure the main internal regulator output voltage
  */
  HAL_PWREx_ControlVoltageScaling(PWR_REGULATOR_VOLTAGE_SCALE1_BOOST);

  /** Initializes the RCC Oscillators according to the specified parameters
  * in the RCC_OscInitTypeDef structure.
  */
  RCC_OscInitStruct.OscillatorType = RCC_OSCILLATORTYPE_HSI;
  RCC_OscInitStruct.HSIState = RCC_HSI_ON;
  RCC_OscInitStruct.HSICalibrationValue = RCC_HSICALIBRATION_DEFAULT;
  RCC_OscInitStruct.PLL.PLLState = RCC_PLL_ON;
  RCC_OscInitStruct.PLL.PLLSource = RCC_PLLSOURCE_HSI;
  RCC_OscInitStruct.PLL.PLLM = RCC_PLLM_DIV1;
  RCC_OscInitStruct.PLL.PLLN = 20;
  RCC_OscInitStruct.PLL.PLLP = RCC_PLLP_DIV2;
  RCC_OscInitStruct.PLL.PLLQ = RCC_PLLQ_DIV2;
  RCC_OscInitStruct.PLL.PLLR = RCC_PLLR_DIV2;
  if (HAL_RCC_OscConfig(&RCC_OscInitStruct) != HAL_OK)
  {
    Error_Handler();
  }

  /** Initializes the CPU, AHB and APB buses clocks
  */
  RCC_ClkInitStruct.ClockType = RCC_CLOCKTYPE_HCLK|RCC_CLOCKTYPE_SYSCLK
                              |RCC_CLOCKTYPE_PCLK1|RCC_CLOCKTYPE_PCLK2;
  RCC_ClkInitStruct.SYSCLKSource = RCC_SYSCLKSOURCE_PLLCLK;
  RCC_ClkInitStruct.AHBCLKDivider = RCC_SYSCLK_DIV1;
  RCC_ClkInitStruct.APB1CLKDivider = RCC_HCLK_DIV1;
  RCC_ClkInitStruct.APB2CLKDivider = RCC_HCLK_DIV1;

  if (HAL_RCC_ClockConfig(&RCC_ClkInitStruct, FLASH_LATENCY_4) != HAL_OK)
  {
    Error_Handler();
  }
}

static void MX_LPUART1_UART_Init(void)
{

  hlpuart1.Instance = LPUART1;
  hlpuart1.Init.BaudRate = 115200;
  hlpuart1.Init.WordLength = UART_WORDLENGTH_8B;
  hlpuart1.Init.StopBits = UART_STOPBITS_1;
  hlpuart1.Init.Parity = UART_PARITY_NONE;
  hlpuart1.Init.Mode = UART_MODE_TX_RX;
  hlpuart1.Init.HwFlowCtl = UART_HWCONTROL_NONE;
  hlpuart1.Init.OneBitSampling = UART_ONE_BIT_SAMPLE_DISABLE;
  hlpuart1.Init.ClockPrescaler = UART_PRESCALER_DIV1;
  hlpuart1.AdvancedInit.AdvFeatureInit = UART_ADVFEATURE_NO_INIT;
  if (HAL_UART_Init(&hlpuart1) != HAL_OK)
  {
    Error_Handler();
  }
  if (HAL_UARTEx_SetTxFifoThreshold(&hlpuart1, UART_TXFIFO_THRESHOLD_1_8) != HAL_OK)
  {
    Error_Handler();
  }
  if (HAL_UARTEx_SetRxFifoThreshold(&hlpuart1, UART_RXFIFO_THRESHOLD_1_8) != HAL_OK)
  {
    Error_Handler();
  }
  if (HAL_UARTEx_DisableFifoMode(&hlpuart1) != HAL_OK)
  {
    Error_Handler();
  }

}

static void MX_TIM2_Init(void)
{

  TIM_ClockConfigTypeDef sClockSourceConfig = {0};
  TIM_MasterConfigTypeDef sMasterConfig = {0};
  TIM_OC_InitTypeDef sConfigOC = {0};

  htim2.Instance = TIM2;
  htim2.Init.Prescaler = 159;
  htim2.Init.CounterMode = TIM_COUNTERMODE_UP;
  htim2.Init.Period = 999;
  htim2.Init.ClockDivision = TIM_CLOCKDIVISION_DIV1;
  htim2.Init.AutoReloadPreload = TIM_AUTORELOAD_PRELOAD_DISABLE;
  if (HAL_TIM_Base_Init(&htim2) != HAL_OK)
  {
    Error_Handler();
  }
  sClockSourceConfig.ClockSource = TIM_CLOCKSOURCE_INTERNAL;
  if (HAL_TIM_ConfigClockSource(&htim2, &sClockSourceConfig) != HAL_OK)
  {
    Error_Handler();
  }
  if (HAL_TIM_PWM_Init(&htim2) != HAL_OK)
  {
    Error_Handler();
  }
  if (HAL_TIM_OC_Init(&htim2) != HAL_OK)
  {
    Error_Handler();
  }
  sMasterConfig.MasterOutputTrigger = TIM_TRGO_RESET;
  sMasterConfig.MasterSlaveMode = TIM_MASTERSLAVEMODE_DISABLE;
  if (HAL_TIMEx_MasterConfigSynchronization(&htim2, &sMasterConfig) != HAL_OK)
  {
    Error_Handler();
  }
  sConfigOC.OCMode = TIM_OCMODE_PWM1;
  sConfigOC.Pulse = 50;
  sConfigOC.OCPolarity = TIM_OCPOLARITY_HIGH;
  sConfigOC.OCFastMode = TIM_OCFAST_DISABLE;
  if (HAL_TIM_PWM_ConfigChannel(&htim2, &sConfigOC, TIM_CHANNEL_1) != HAL_OK)
  {
    Error_Handler();
  }
  sConfigOC.OCMode = TIM_OCMODE_TIMING;
  sConfigOC.Pulse = 0;
  if (HAL_TIM_OC_ConfigChannel(&htim2, &sConfigOC, TIM_CHANNEL_2) != HAL_OK)
  {
    Error_Handler();
  }
  HAL_TIM_MspPostInit(&htim2);

}

static void MX_TIM3_Init(void)
{

  TIM_ClockConfigTypeDef sClockSourceConfig = {0};
  TIM_MasterConfigTypeDef sMasterConfig = {0};

  htim3.Instance = TIM3;
  htim3.Init.Prescaler = 16000-1;
  htim3.Init.CounterMode = TIM_COUNTERMODE_UP;
  htim3.Init.Period = 999;
  htim3.Init.ClockDivision = TIM_CLOCKDIVISION_DIV1;
  htim3.Init.AutoReloadPreload = TIM_AUTORELOAD_PRELOAD_DISABLE;
  if (HAL_TIM_Base_Init(&htim3) != HAL_OK)
  {
    Error_Handler();
  }
  sClockSourceConfig.ClockSource = TIM_CLOCKSOURCE_INTERNAL;
  if (HAL_TIM_ConfigClockSource(&htim3, &sClockSourceConfig) != HAL_OK)
  {
    Error_Handler();
  }
  sMasterConfig.MasterOutputTrigger = TIM_TRGO_RESET;
  sMasterConfig.MasterSlaveMode = TIM_MASTERSLAVEMODE_DISABLE;
  if (HAL_TIMEx_MasterConfigSynchronization(&htim3, &sMasterConfig) != HAL_OK)
  {
    Error_Handler();
  }

}

static void MX_GPIO_Init(void)
{
  GPIO_InitTypeDef GPIO_InitStruct = {0};

  /* GPIO Ports Clock Enable */
  __HAL_RCC_GPIOC_CLK_ENABLE();
  __HAL_RCC_GPIOF_CLK_ENABLE();
  __HAL_RCC_GPIOA_CLK_ENABLE();
  __HAL_RCC_GPIOB_CLK_ENABLE();

  /*Configure GPIO pin Output Level */
  HAL_GPIO_WritePin(GPIOC, GPIO_PIN_8, GPIO_PIN_RESET);

  /*Configure GPIO pin : PB11 */
  GPIO_InitStruct.Pin = GPIO_PIN_11;
  GPIO_InitStruct.Mode = GPIO_MODE_IT_FALLING;
  GPIO_InitStruct.Pull = GPIO_PULLUP;
  HAL_GPIO_Init(GPIOB, &GPIO_InitStruct);

  /*Configure GPIO pin : PC8 */
  GPIO_InitStruct.Pin = GPIO_PIN_8;
  GPIO_InitStruct.Mode = GPIO_MODE_OUTPUT_PP;
  GPIO_InitStruct.Pull = GPIO_NOPULL;
  GPIO_InitStruct.Speed = GPIO_SPEED_FREQ_LOW;
  HAL_GPIO_Init(GPIOC, &GPIO_InitStruct);

  /* EXTI interrupt init*/
  HAL_NVIC_SetPriority(EXTI15_10_IRQn, 1, 0);
  HAL_NVIC_EnableIRQ(EXTI15_10_IRQn);

}

/* USER CODE BEGIN 4 */

/* ==========================================================================
 *  按鈕中斷處理 (PB11，下緣觸發)
 * ========================================================================== */

/**
  * @brief  按鈕下緣中斷的實際處理。
  * @param  pin: 觸發中斷的腳位
  * @note   按鈕接 PB11 與 GND、內部上拉，按下時為低電位，所以用下緣觸發。
  *         ISR 內只做「防彈跳 + 設旗標」，不做串口輸出等耗時操作，
  *         真正的警報觸發由主迴圈的 service() 執行。
  */
static void button_isr(uint16_t pin)
{
  if (pin == GPIO_PIN_11)
  {
    uint32_t now = HAL_GetTick();

    /* 防彈跳：距離上次有效按下超過 50 ms 才算數，
     * 濾掉機械按鈕按下瞬間的連續抖動。 */
    if ((now - button_last_ms) > DEBOUNCE_MS)
    {
      button_last_ms = now;

      /* 警報中再按按鈕會被忽略：只有一般狀態才設旗標 */
      if (!alarm_active)
      {
        button_event = 1;
      }
    }
  }
}

/**
  * @brief  EXTI 下緣回呼函式（較新版本的 G4 HAL 會呼叫這個）。
  * @note   不同版本的 STM32G4 HAL 回呼函式名稱不同，
  *         下面兩個都提供，哪個被呼叫都能正常運作。
  */
void HAL_GPIO_EXTI_Falling_Callback(uint16_t GPIO_Pin)
{
  button_isr(GPIO_Pin);
}

/**
  * @brief  EXTI 通用回呼函式（較舊版本的 G4 HAL 會呼叫這個）。
  */
void HAL_GPIO_EXTI_Callback(uint16_t GPIO_Pin)
{
  button_isr(GPIO_Pin);
}

/* USER CODE END 4 */

void Error_Handler(void)
{
  __disable_irq();
  while (1)
  {
  }
}
